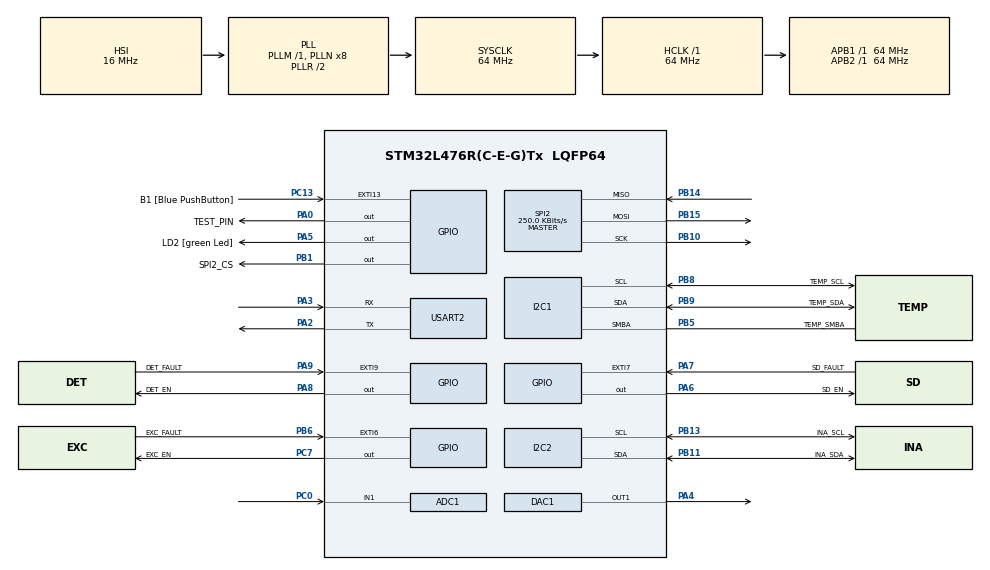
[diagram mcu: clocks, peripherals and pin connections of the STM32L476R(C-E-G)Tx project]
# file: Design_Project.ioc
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ADC1.Channel-0\#ChannelRegularConversion=ADC_CHANNEL_1
ADC1.NbrOfConversionFlag=1
ADC1.OffsetNumber-0\#ChannelRegularConversion=ADC_OFFSET_NONE
ADC1.Rank-0\#ChannelRegularConversion=1
ADC1.SamplingTime-0\#ChannelRegularConversion=ADC_SAMPLETIME_640CYCLES_5
ADC1.master=1
CRC.DefaultInitValueUse=DEFAULT_INIT_VALUE_ENABLE
CRC.DefaultPolynomialUse=DEFAULT_POLYNOMIAL_ENABLE
CRC.InputDataFormat=CRC_INPUTDATA_FORMAT_WORDS
CRC.InputDataInversionMode=CRC_INPUTDATA_INVERSION_BYTE
CRC.OutputDataInversionMode=CRC_OUTPUTDATA_INVERSION_ENABLE
FATFS._MAX_SS=4096
FATFS._USE_LFN=1
I2C1.Timeout=0x0000830D
I2C1.Timing=0x10B17DB5
I2C2.Timing=0x10B17DB5
IWDG.Prescaler=IWDG_PRESCALER_256
Mcu.Family=STM32L4
Mcu.Name=STM32L476R(C-E-G)Tx
Mcu.Package=LQFP64
NVIC.ADC1_2_IRQn=true\:0\:0\:false\:false\:true\:true\:true\:true
NVIC.EXTI15_10_IRQn=true\:0\:0\:false\:false\:true\:true\:true\:true
NVIC.EXTI9_5_IRQn=true\:0\:0\:false\:false\:true\:true\:true\:true
NVIC.I2C1_ER_IRQn=true\:0\:0\:false\:false\:true\:true\:true\:true
NVIC.I2C1_EV_IRQn=true\:0\:0\:false\:false\:true\:true\:true\:true
NVIC.PriorityGroup=NVIC_PRIORITYGROUP_4
NVIC.RTC_WKUP_IRQn=true\:0\:0\:false\:false\:true\:true\:true\:true
NVIC.TIM2_IRQn=true\:0\:0\:false\:false\:true\:true\:true\:true
PA0.GPIO_Label=TEST_PIN
PA0.GPIO_PuPd=GPIO_PULLDOWN
PA0.Signal=GPIO_Output
PA13\ (JTMS-SWDIO).GPIO_Label=TMS
PA13\ (JTMS-SWDIO).Mode=Serial_Wire
PA13\ (JTMS-SWDIO).Signal=SYS_JTMS-SWDIO
PA14\ (JTCK-SWCLK).GPIO_Label=TCK
PA14\ (JTCK-SWCLK).Mode=Serial_Wire
PA14\ (JTCK-SWCLK).Signal=SYS_JTCK-SWCLK
PA2.Mode=Asynchronous
PA2.Signal=USART2_TX
PA3.Mode=Asynchronous
PA3.Signal=USART2_RX
PA4.Signal=COMP_DAC11_group
PA5.GPIO_Label=LD2 [green Led]
PA5.GPIO_ModeDefaultOutputPP=GPIO_MODE_OUTPUT_PP
PA5.GPIO_PuPd=GPIO_NOPULL
PA5.GPIO_Speed=GPIO_SPEED_FREQ_LOW
PA5.Signal=GPIO_Output
PA6.GPIO_Label=SD_EN
PA6.GPIO_Speed=GPIO_SPEED_FREQ_LOW
PA6.Signal=GPIO_Output
PA7.GPIO_Label=SD_FAULT
PA7.GPIO_ModeDefaultEXTI=GPIO_MODE_IT_FALLING
PA7.Signal=GPXTI7
PA8.GPIO_Label=DET_EN
PA8.Signal=GPIO_Output
PA9.GPIO_Label=DET_FAULT
PA9.GPIO_ModeDefaultEXTI=GPIO_MODE_IT_FALLING
PA9.Signal=GPXTI9
PB1.GPIO_Label=SPI2_CS
PB1.GPIO_PuPd=GPIO_PULLUP
PB1.PinState=GPIO_PIN_SET
PB1.Signal=GPIO_Output
PB10.Mode=Full_Duplex_Master
PB10.Signal=SPI2_SCK
PB11.GPIO_Label=INA_SDA
PB11.Mode=I2C
PB11.Signal=I2C2_SDA
PB13.GPIO_Label=INA_SCL
PB13.Mode=I2C
PB13.Signal=I2C2_SCL
PB14.GPIO_PuPd=GPIO_PULLUP
PB14.Mode=Full_Duplex_Master
PB14.Signal=SPI2_MISO
PB15.GPIO_PuPd=GPIO_PULLUP
PB15.Mode=Full_Duplex_Master
PB15.Signal=SPI2_MOSI
PB3\ (JTDO-TRACESWO).GPIO_Label=SWO
PB3\ (JTDO-TRACESWO).Signal=SYS_JTDO-SWO
PB5.GPIO_Label=TEMP_SMBA
PB5.Mode=SMBus-Alert-mode
PB5.Signal=I2C1_SMBA
PB6.GPIO_Label=EXC_FAULT
PB6.GPIO_ModeDefaultEXTI=GPIO_MODE_IT_FALLING
PB6.Signal=GPXTI6
PB8.GPIO_Label=TEMP_SCL
PB8.Mode=SMBus-Alert-mode
PB8.Signal=I2C1_SCL
PB9.GPIO_Label=TEMP_SDA
PB9.Mode=SMBus-Alert-mode
PB9.Signal=I2C1_SDA
PC0.Signal=ADCx_IN1
PC13.GPIO_Label=B1 [Blue PushButton]
PC13.GPIO_ModeDefaultEXTI=GPIO_MODE_IT_FALLING
PC13.GPIO_PuPd=GPIO_NOPULL
PC13.Signal=GPXTI13
PC14-OSC32_IN\ (PC14).Mode=LSE-External-Oscillator
PC14-OSC32_IN\ (PC14).Signal=RCC_OSC32_IN
PC15-OSC32_OUT\ (PC15).Mode=LSE-External-Oscillator
PC15-OSC32_OUT\ (PC15).Signal=RCC_OSC32_OUT
PC7.GPIO_Label=EXC_EN
PC7.GPIO_Speed=GPIO_SPEED_FREQ_MEDIUM
PC7.Signal=GPIO_Output
PH0-OSC_IN\ (PH0).Signal=RCC_OSC_IN
PH1-OSC_OUT\ (PH1).Signal=RCC_OSC_OUT
ProjectManager.HeapSize=0x200
ProjectManager.StackSize=0x400
ProjectManager.TargetToolchain=STM32CubeIDE
RCC.ADCFreq_Value=64000000
RCC.AHBFreq_Value=64000000
RCC.APB1Freq_Value=64000000
RCC.APB1TimFreq_Value=64000000
RCC.APB2Freq_Value=64000000
RCC.APB2TimFreq_Value=64000000
RCC.CortexFreq_Value=64000000
RCC.HCLKFreq_Value=64000000
RCC.HSE_VALUE=8000000
RCC.HSI_VALUE=16000000
RCC.MSI_VALUE=4000000
RCC.PLLSourceVirtual=RCC_PLLSOURCE_HSI
RCC.PREFETCH_ENABLE=1
RCC.RTCClockSelection=RCC_RTCCLKSOURCE_LSE
RCC.SYSCLKFreq_VALUE=64000000
RCC.SYSCLKSource=RCC_SYSCLKSOURCE_PLLCLK
RCC.USBFreq_Value=64000000
RCC.VCOOutputFreq_Value=128000000
RTC.Date=13
RTC.Hours=0
RTC.Minutes=30
RTC.Month=RTC_MONTH_MAY
RTC.WakeUpClock-WakeUp=RTC_WAKEUPCLOCK_CK_SPRE_16BITS
RTC.WakeUpCounter-WakeUp=0
RTC.WeekDay=RTC_WEEKDAY_WEDNESDAY
RTC.Year=26
SH.ADCx_IN1.0=ADC1_IN1,IN1-Single-Ended
SH.COMP_DAC11_group.0=DAC1_OUT1,DAC_OUT1
SPI2.BaudRatePrescaler=SPI_BAUDRATEPRESCALER_256
SPI2.CalculateBaudRate=250.0 KBits/s
SPI2.DataSize=SPI_DATASIZE_8BIT
SPI2.Direction=SPI_DIRECTION_2LINES
SPI2.Mode=SPI_MODE_MASTER
SPI2.VirtualType=VM_MASTER
TIM2.AutoReloadPreload=TIM_AUTORELOAD_PRELOAD_ENABLE
TIM2.Period=500-1
TIM2.Prescaler=64000-1
USART2.VirtualMode-Asynchronous=VM_ASYNC
VP_CRC_VS_CRC.Mode=CRC_Activate
VP_FATFS_VS_Generic.Mode=User_defined
VP_IWDG_VS_IWDG.Mode=IWDG_Activate
VP_RTC_VS_RTC_Activate.Mode=RTC_Enabled
VP_RTC_VS_RTC_Calendar.Mode=RTC_Calendar
VP_RTC_VS_RTC_WakeUp_intern.Mode=WakeUp
VP_TIM2_VS_ClockSourceINT.Mode=Internal
board=NUCLEO-L476RG

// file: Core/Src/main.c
/* USER CODE BEGIN Header */
/**
  ******************************************************************************
  * @file           : main.c
  * @brief          : Main program body
  ******************************************************************************
  * @attention
  *
  * Copyright (c) 2026 STMicroelectronics.
  * All rights reserved.
  *
  * This software is licensed under terms that can be found in the LICENSE file
  * in the root directory of this software component.
  * If no LICENSE file comes with this software, it is provided AS-IS.
  *
  ******************************************************************************
  */
/* USER CODE END Header */
#include "main.h"
#include "fatfs.h"

/* USER CODE BEGIN Includes */
#include "daq.h"
#include "string.h"
#include <stdio.h>
#include "stdbool.h"

#include "INA219.h"
/* USER CODE END Includes */

/* USER CODE BEGIN PD */

#ifdef __GNUC__
#define PUTCHAR_PROTOTYPE int __io_putchar(int ch)
#else
#define PUTCHAR_PROTOTYPE int fputc(int ch, FILE *f)
#endif

/* USER CODE END PD */

/* USER CODE BEGIN PM */
/* Buffer for raw ADC samples (Oversampling/Averaging) */
#define ADC_WINDOW_SIZE 256
#define BUFFER_SIZE 100
FaultType result;
/* USER CODE END PM */

ADC_HandleTypeDef hadc1;
CRC_HandleTypeDef hcrc;
DAC_HandleTypeDef hdac1;
SMBUS_HandleTypeDef hsmbus1;
I2C_HandleTypeDef hi2c2;
IWDG_HandleTypeDef hiwdg;
RTC_HandleTypeDef hrtc;
SPI_HandleTypeDef hspi2;
TIM_HandleTypeDef htim2;
UART_HandleTypeDef huart2;

/* USER CODE BEGIN PV */
/* ── Extern globals defined in daq.c ─────────────────────────────────── */
extern DaqContext    	g_daq;
extern FaultManager  	g_fault_mgr;
extern PendingFault 	g_pending_fault;
extern AcqState     	g_acq;
extern uint8_t 			s_buf_head;

/* ── Pending record passed from SYS_PROCESS to SYS_LOG ──────────────── */
static MeasurementRecord s_pending_record;

/* Alert Response Address (ARA) */
static uint8_t s_ara_response_addr;

/* INA219 context structure */
INA219_t ina219 = {0};
/* USER CODE END PV */

void SystemClock_Config(void);
static void MX_GPIO_Init(void);
static void MX_RTC_Init(void);
void MX_ADC1_Init(void);
static void MX_DAC1_Init(void);
static void MX_I2C1_SMBUS_Init(void);
static void MX_SPI2_Init(void);
static void MX_TIM2_Init(void);
static void MX_CRC_Init(void);
static void MX_IWDG_Init(void);
static void MX_I2C2_Init(void);
void MX_USART2_UART_Init(void);

/* USER CODE BEGIN 0 */
PUTCHAR_PROTOTYPE
{
  HAL_UART_Transmit(&huart2, (uint8_t *)&ch, 1, HAL_MAX_DELAY);
  return ch;
}

/* ══════════════════════════════════════════════════════════════════════
 *  EXTI dispatch
 *
 *  Routing each pin to its dedicated callback
 * ══════════════════════════════════════════════════════════════════════ */

void HAL_GPIO_EXTI_Callback(uint16_t GPIO_Pin)
{
	switch(GPIO_Pin)
	{
		  case GPIO_PIN_9:   /* PB9 — detection domain load switch fault  */
			  DAQ_EXTI_Detection_Callback();
			  break;
		  case GPIO_PIN_6:    /* PB6  — excitation domain load switch fault */
			  DAQ_EXTI_Excitation_Callback();
			  break;
		  case GPIO_PIN_7:    /* PA7  — SD card domain load switch fault    */
			  DAQ_EXTI_SDCard_Callback();
			  break;
		  default:
			  break;
	}
}

void HAL_TIM_PeriodElapsedCallback(TIM_HandleTypeDef *htim)
{
    if (htim->Instance == TIM2) {
        DAQ_TIM_PeriodElapsed_Callback();
    }
}

void HAL_ADC_ConvCpltCallback(ADC_HandleTypeDef *hadc)
{
    if (hadc->Instance == ADC1) {
        DAQ_ADC_ConvCplt_Callback();
    }
}

/**
 * @brief SMBus Error Callback
 * Triggered by the I2C1_ER_IRQn when the SMBA (Alert) line is pulled low.
 */
void HAL_SMBUS_ErrorCallback(SMBUS_HandleTypeDef *hsmbus)
{
    if (hsmbus->Instance == I2C1) {
        /* Check if the SMBus Alert flag is set */
        if (__HAL_SMBUS_GET_FLAG(hsmbus, SMBUS_FLAG_ALERT) != RESET) {

            /* 1. Start the Alert Response Address (ARA) sequence. */
            HAL_SMBUS_Master_Receive_IT(hsmbus, 0x0C, &s_ara_response_addr, 1, SMBUS_FIRST_AND_LAST_FRAME_NO_PEC);

            /* 2. Clear the flag so the interrupt doesn't re-trigger immediately */
            __HAL_SMBUS_CLEAR_FLAG(hsmbus, SMBUS_FLAG_ALERT);
        }
    }
}

/**
 * @brief SMBus Master Rx Complete Callback
 * Triggered once the ARA response (the alerting device's address) is received.
 */
void HAL_SMBUS_MasterRxCpltCallback(SMBUS_HandleTypeDef *hsmbus)
{
    if (hsmbus->Instance == I2C1) {
        /* The response contains the 7-bit address of the device that triggered the alert.
         * MCP9808 address is 0x18.*/
        if ((s_ara_response_addr >> 1) == (MCP9808_I2C_ADDR >> 1)) {
            /* Latch the fault. The state machine will handle this at the next check. */
            g_pending_fault.type      = FAULT_TEMP_ALERT;
            g_pending_fault.subsystem = SUBSYS_DETECTION;

            /* If we are in the middle of a high-precision acquisition, mark it as faulted */
            if (g_acq.phase != ACQ_IDLE) {
                g_acq.fault = FAULT_TEMP_ALERT;
            }
        }
    }
}

/**
  * @brief  Wake Up Timer callback
  * @param  hrtc: RTC handle
  */
void HAL_RTCEx_WakeUpTimerEventCallback(RTC_HandleTypeDef *hrtc)
{
	/* Called when CPU wakes from RTC wakeup interrupt */
	(void)hrtc;
}
/* USER CODE END 0 */

int main(void)
{

  /* MCU Configuration--------------------------------------------------------*/

  /* Reset of all peripherals, Initializes the Flash interface and the Systick. */
  HAL_Init();

  /* USER CODE BEGIN Init */
  /* ── Cold-boot detection ──────────────────────────────────────────
   * RCC_FLAG_BORRST (brown-out reset), not PWR_FLAG_SB: this system
   * only ever uses Stop 2 mode, never Standby, so PWR_FLAG_SB (set only
   * on a wake-from-Standby) would never be set regardless of reset
   * cause -- that check would zero g_daq/g_fault_mgr/etc. on every
   * single reset, including an IWDG watchdog reset, defeating the whole
   * point of keeping them in .noinit across exactly that case.
   * RCC_FLAG_BORRST is set specifically by a genuine power-on/brown-out
   * event and stays clear across a watchdog/software/pin reset, so it
   * actually distinguishes "fresh power-on" the way this check needs.
   */
  if (__HAL_RCC_GET_FLAG(RCC_FLAG_BORRST) != RESET) {
	  memset(&g_daq,           0, sizeof(DaqContext));
	  memset(&g_fault_mgr,     0, sizeof(FaultManager));
	  memset(&g_pending_fault, 0, sizeof(PendingFault));
	  memset(&g_acq,           0, sizeof(AcqState));
	  memset(&s_pending_record,0, sizeof(MeasurementRecord));

	  s_buf_head 		= 0;
	  g_daq.state 		= SYS_INIT;
	  g_daq.cycle_count = 1;
  }
  __HAL_RCC_CLEAR_RESET_FLAGS();
  /* USER CODE END Init */

  /* Configure the system clock */
  SystemClock_Config();

  /* Initialize all configured peripherals */
  MX_GPIO_Init();
  MX_RTC_Init();
  MX_ADC1_Init();
  MX_DAC1_Init();
  MX_I2C1_SMBUS_Init();
  MX_SPI2_Init();
  MX_TIM2_Init();
  MX_CRC_Init();
  MX_IWDG_Init();
  MX_I2C2_Init();
  MX_USART2_UART_Init();
  MX_FATFS_Init();
  /* USER CODE BEGIN 2 */

  /* Configure MCP9808 alert limits */
  FaultType alert_cfg = configure_mcp9808_alert();

  /* Non fatal if configuration failed */
  if (alert_cfg != FAULT_NONE) {
	  FaultLog boot_warn = {
		  .timestamp      = 0u,
		  .fault          = alert_cfg,
		  .subsystem      = SUBSYS_TEMP_SENSOR,
		  .state_at_fault = SYS_INIT,
		  .retry_count    = 0u
	  };
	  log_fault_to_sd(&boot_warn);
  }

  // Enable mcp alert interrupts
  HAL_SMBUS_EnableAlert_IT(&hsmbus1);

  /* USER CODE END 2 */

  /* USER CODE BEGIN WHILE */
  while (1)
  {
	  /* GLOBAL FAULT CHECK: If a fault was latched by EXTI, handle it now */
	  if (g_pending_fault.type != FAULT_NONE) {
		  fault_handler(g_pending_fault.type, g_pending_fault.subsystem);
		  continue; // Restart the loop
	  }

	  /* ── State machine ──────────────────────────────────────────────── */

	  switch (g_daq.state)
	  {
		  /* ── SYS_INIT ─────────────────────────────────────────────
		   * kick the watchdog, then run the health check. A clean check advances to power sequencing.
		   */
	  	  case SYS_INIT:
		  {
			  /* 1. Refresh watchdog timer */
			  iwdg_kick();

			  /* 2. Re-calibrate ADC */
			  HAL_ADCEx_Calibration_Start(&hadc1, ADC_SINGLE_ENDED);

			  /* 3. Confirm there is no power fault */
			  result = check_power_health();
			  if (result == FAULT_NONE) {
				  g_daq.state = SYS_POWER_SEQ;
			  } else {
				  /* g_pending_fault.subsystem was set by health check */
				  fault_handler(result, g_pending_fault.subsystem);
			  }
			  break;
		  }

		  /* ── SYS_POWER_SEQ ────────────────────────────────────────
		   * Enable detection domain and wait for it to settle before
		   * any optical excitation is applied.
		   */
		  case SYS_POWER_SEQ:
		  {
			  result = init_power_domain(DETECT_EN_PORT, DETECT_EN_PIN,
			                             DETECT_FLT_PORT, DETECT_FLT_PIN,
			                             DELAY_DETECT_SETTLE_MS,
			                             FAULT_LOAD_SWITCH_DETECTION);
			  if (result == FAULT_NONE) {
				  g_daq.state = SYS_ACQUIRE;
			  } else {
				  fault_handler(result, SUBSYS_DETECTION);
			  }
			  break;
		  }

		  /* ── SYS_ACQUIRE ──────────────────────────────────────────
		   */
		  case SYS_ACQUIRE:
		  {
			  result = start_acquisition();
			  if (result != FAULT_NONE) {
				  fault_handler(result, SUBSYS_EXCITATION);
				  break;
			  }

			  /* Poll until complete or fault — kick IWDG each iteration */
			  while (!g_acq.complete) {
				  iwdg_kick();

				  /* Check for temperature alert while waiting */
				  if (g_pending_fault.type != FAULT_NONE) {
					  HAL_TIM_Base_Stop_IT(&htim2);
					  fault_handler(g_pending_fault.type, g_pending_fault.subsystem);
					  break;
				  }

				  HAL_Delay(10u);   /* Short yield — ISR will set complete */
			  }

			  /* Clear interrupt flags to prevent false triggering */
              __HAL_TIM_CLEAR_IT(&htim2, TIM_IT_UPDATE);
              __HAL_ADC_CLEAR_FLAG(&hadc1, ADC_FLAG_EOC | ADC_FLAG_EOS | ADC_FLAG_OVR);

			  /* Check if the ISR flagged a mid-window fault */
			  if (g_acq.fault != FAULT_NONE) {

				  SubSystem sys = (g_pending_fault.subsystem != SUBSYS_PROCESSOR)
								  ? g_pending_fault.subsystem
								  : SUBSYS_EXCITATION;
				  fault_handler(g_acq.fault, sys);
				  break;
			  }

			  /* ── SUCCESS ── */
			  /* Data is collected in g_acq buffers. All validation, math, and logging happens next. */
			  g_daq.state = SYS_PROCESS;

			  break;
		  }

		  /* ── SYS_PROCESS ──────────────────────────────────────────
		   * Compute differential mean, apply temperature compensation,
		   * and compute CRC. */
		  case SYS_PROCESS:
		  {
			  /* process measurement buffers */
			  result = process_measurement(g_acq.buf_on,
										   g_acq.buf_off,
										   ACQUISITION_PAIRS,
										   &s_pending_record);

			  /* Check to see if there were no faults before continuing
			   * A temperature sensor fault is non-fatal — the record is still logged with op_status flagged.
			   * */
			  if (result == FAULT_NONE || result == FAULT_TEMP_SENSOR) {
				  g_daq.state = SYS_LOG;
			  } else {
				  fault_handler(result, SUBSYS_PROCESSOR);
			  }
			  break;
		  }

		  /* ── SYS_LOG ──────────────────────────────────────────────
		   * Push record to RAM buffer. If the buffer is full,
		   * log_measurement() triggers a flush internally.
		   */
		  case SYS_LOG:
		  {
			  result = log_measurement(&s_pending_record);
			  if (result == FAULT_NONE) {
				  g_fault_mgr.retry_count = 0;   /* Clean cycle: reset retries */
				  g_daq.state = SYS_STOP;

			  } else {
				  fault_handler(result, SUBSYS_SDCARD);
			  }
			  break;
		  }

		  /* ── SYS_STOP ─────────────────────────────────────────────
		   * Kick watchdog. enter_stop_mode() kicks once more internally
		   */
		  case SYS_STOP:
			  iwdg_kick();

			#if DAQ_DEBUG
			  debug_dump_sd();
			#endif

			  /* 7. Enter Ultra-Low Power Stop 2 */
			  g_daq.cycle_count++;
			  enter_stop_mode();

			  /* --- SYSTEM SLEEPS UNTIL RTC ALARM --- */

			  /* 8. Logic resumes here after wake. Restore state. */
			  g_daq.state = SYS_INIT;
			  break;

		  default:
			  g_daq.state = SYS_STOP;
			  break;
	  }
    /* USER CODE END WHILE */

	  }
}

void SystemClock_Config(void)
{
  RCC_OscInitTypeDef RCC_OscInitStruct = {0};
  RCC_ClkInitTypeDef RCC_ClkInitStruct = {0};

  /** Configure the main internal regulator output voltage
  */
  if (HAL_PWREx_ControlVoltageScaling(PWR_REGULATOR_VOLTAGE_SCALE1) != HAL_OK)
  {
    Error_Handler();
  }

  /** Configure LSE Drive Capability
  */
  HAL_PWR_EnableBkUpAccess();
  __HAL_RCC_LSEDRIVE_CONFIG(RCC_LSEDRIVE_LOW);

  /** Initializes the RCC Oscillators according to the specified parameters
  * in the RCC_OscInitTypeDef structure.
  */
  RCC_OscInitStruct.OscillatorType = RCC_OSCILLATORTYPE_HSI|RCC_OSCILLATORTYPE_LSI
                              |RCC_OSCILLATORTYPE_LSE;
  RCC_OscInitStruct.LSEState = RCC_LSE_ON;
  RCC_OscInitStruct.HSIState = RCC_HSI_ON;
  RCC_OscInitStruct.HSICalibrationValue = RCC_HSICALIBRATION_DEFAULT;
  RCC_OscInitStruct.LSIState = RCC_LSI_ON;
  RCC_OscInitStruct.PLL.PLLState = RCC_PLL_ON;
  RCC_OscInitStruct.PLL.PLLSource = RCC_PLLSOURCE_HSI;
  RCC_OscInitStruct.PLL.PLLM = 1;
  RCC_OscInitStruct.PLL.PLLN = 8;
  RCC_OscInitStruct.PLL.PLLP = RCC_PLLP_DIV7;
  RCC_OscInitStruct.PLL.PLLQ = RCC_PLLQ_DIV2;
  RCC_OscInitStruct.PLL.PLLR = RCC_PLLR_DIV2;
  if (HAL_RCC_OscConfig(&RCC_OscInitStruct) != HAL_OK)
  {
    Error_Handler();
  }

  /** Initializes the CPU, AHB and APB buses clocks
  */
  RCC_ClkInitStruct.ClockType = RCC_CLOCKTYPE_HCLK|RCC_CLOCKTYPE_SYSCLK
                              |RCC_CLOCKTYPE_PCLK1|RCC_CLOCKTYPE_PCLK2;
  RCC_ClkInitStruct.SYSCLKSource = RCC_SYSCLKSOURCE_PLLCLK;
  RCC_ClkInitStruct.AHBCLKDivider = RCC_SYSCLK_DIV1;
  RCC_ClkInitStruct.APB1CLKDivider = RCC_HCLK_DIV1;
  RCC_ClkInitStruct.APB2CLKDivider = RCC_HCLK_DIV1;

  if (HAL_RCC_ClockConfig(&RCC_ClkInitStruct, FLASH_LATENCY_3) != HAL_OK)
  {
    Error_Handler();
  }
}

void MX_ADC1_Init(void)
{

  ADC_MultiModeTypeDef multimode = {0};
  ADC_ChannelConfTypeDef sConfig = {0};

  /** Common config
  */
  hadc1.Instance = ADC1;
  hadc1.Init.ClockPrescaler = ADC_CLOCK_ASYNC_DIV1;
  hadc1.Init.Resolution = ADC_RESOLUTION_12B;
  hadc1.Init.DataAlign = ADC_DATAALIGN_RIGHT;
  hadc1.Init.ScanConvMode = ADC_SCAN_DISABLE;
  hadc1.Init.EOCSelection = ADC_EOC_SINGLE_CONV;
  hadc1.Init.LowPowerAutoWait = DISABLE;
  hadc1.Init.ContinuousConvMode = DISABLE;
  hadc1.Init.NbrOfConversion = 1;
  hadc1.Init.DiscontinuousConvMode = DISABLE;
  hadc1.Init.ExternalTrigConv = ADC_SOFTWARE_START;
  hadc1.Init.ExternalTrigConvEdge = ADC_EXTERNALTRIGCONVEDGE_NONE;
  hadc1.Init.DMAContinuousRequests = DISABLE;
  hadc1.Init.Overrun = ADC_OVR_DATA_PRESERVED;
  hadc1.Init.OversamplingMode = DISABLE;
  if (HAL_ADC_Init(&hadc1) != HAL_OK)
  {
    Error_Handler();
  }

  /** Configure the ADC multi-mode
  */
  multimode.Mode = ADC_MODE_INDEPENDENT;
  if (HAL_ADCEx_MultiModeConfigChannel(&hadc1, &multimode) != HAL_OK)
  {
    Error_Handler();
  }

  /** Configure Regular Channel
  */
  sConfig.Channel = ADC_CHANNEL_1;
  sConfig.Rank = ADC_REGULAR_RANK_1;
  sConfig.SamplingTime = ADC_SAMPLETIME_640CYCLES_5;
  sConfig.SingleDiff = ADC_SINGLE_ENDED;
  sConfig.OffsetNumber = ADC_OFFSET_NONE;
  sConfig.Offset = 0;
  if (HAL_ADC_ConfigChannel(&hadc1, &sConfig) != HAL_OK)
  {
    Error_Handler();
  }

}

static void MX_CRC_Init(void)
{

  hcrc.Instance = CRC;
  hcrc.Init.DefaultPolynomialUse = DEFAULT_POLYNOMIAL_ENABLE;
  hcrc.Init.DefaultInitValueUse = DEFAULT_INIT_VALUE_ENABLE;
  hcrc.Init.InputDataInversionMode = CRC_INPUTDATA_INVERSION_BYTE;
  hcrc.Init.OutputDataInversionMode = CRC_OUTPUTDATA_INVERSION_ENABLE;
  hcrc.InputDataFormat = CRC_INPUTDATA_FORMAT_WORDS;
  if (HAL_CRC_Init(&hcrc) != HAL_OK)
  {
    Error_Handler();
  }

}

static void MX_DAC1_Init(void)
{

  DAC_ChannelConfTypeDef sConfig = {0};

  /** DAC Initialization
  */
  hdac1.Instance = DAC1;
  if (HAL_DAC_Init(&hdac1) != HAL_OK)
  {
    Error_Handler();
  }

  /** DAC channel OUT1 config
  */
  sConfig.DAC_SampleAndHold = DAC_SAMPLEANDHOLD_DISABLE;
  sConfig.DAC_Trigger = DAC_TRIGGER_NONE;
  sConfig.DAC_OutputBuffer = DAC_OUTPUTBUFFER_ENABLE;
  sConfig.DAC_ConnectOnChipPeripheral = DAC_CHIPCONNECT_DISABLE;
  sConfig.DAC_UserTrimming = DAC_TRIMMING_FACTORY;
  if (HAL_DAC_ConfigChannel(&hdac1, &sConfig, DAC_CHANNEL_1) != HAL_OK)
  {
    Error_Handler();
  }

}

static void MX_I2C1_SMBUS_Init(void)
{

  hsmbus1.Instance = I2C1;
  hsmbus1.Init.Timing = 0x10B17DB5;
  hsmbus1.Init.AnalogFilter = SMBUS_ANALOGFILTER_ENABLE;
  hsmbus1.Init.OwnAddress1 = 2;
  hsmbus1.Init.AddressingMode = SMBUS_ADDRESSINGMODE_7BIT;
  hsmbus1.Init.DualAddressMode = SMBUS_DUALADDRESS_DISABLE;
  hsmbus1.Init.OwnAddress2 = 0;
  hsmbus1.Init.OwnAddress2Masks = SMBUS_OA2_NOMASK;
  hsmbus1.Init.GeneralCallMode = SMBUS_GENERALCALL_DISABLE;
  hsmbus1.Init.NoStretchMode = SMBUS_NOSTRETCH_DISABLE;
  hsmbus1.Init.PacketErrorCheckMode = SMBUS_PEC_DISABLE;
  hsmbus1.Init.PeripheralMode = SMBUS_PERIPHERAL_MODE_SMBUS_SLAVE;
  hsmbus1.Init.SMBusTimeout = 0x0000830D;
  if (HAL_SMBUS_Init(&hsmbus1) != HAL_OK)
  {
    Error_Handler();
  }

  /** configuration Alert Mode
  */
  if (HAL_SMBUS_EnableAlert_IT(&hsmbus1) != HAL_OK)
  {
    Error_Handler();
  }

}

static void MX_I2C2_Init(void)
{

  hi2c2.Instance = I2C2;
  hi2c2.Init.Timing = 0x10B17DB5;
  hi2c2.Init.OwnAddress1 = 0;
  hi2c2.Init.AddressingMode = I2C_ADDRESSINGMODE_7BIT;
  hi2c2.Init.DualAddressMode = I2C_DUALADDRESS_DISABLE;
  hi2c2.Init.OwnAddress2 = 0;
  hi2c2.Init.OwnAddress2Masks = I2C_OA2_NOMASK;
  hi2c2.Init.GeneralCallMode = I2C_GENERALCALL_DISABLE;
  hi2c2.Init.NoStretchMode = I2C_NOSTRETCH_DISABLE;
  if (HAL_I2C_Init(&hi2c2) != HAL_OK)
  {
    Error_Handler();
  }

  /** Configure Analogue filter
  */
  if (HAL_I2CEx_ConfigAnalogFilter(&hi2c2, I2C_ANALOGFILTER_ENABLE) != HAL_OK)
  {
    Error_Handler();
  }

  /** Configure Digital filter
  */
  if (HAL_I2CEx_ConfigDigitalFilter(&hi2c2, 0) != HAL_OK)
  {
    Error_Handler();
  }

}

static void MX_IWDG_Init(void)
{

  hiwdg.Instance = IWDG;
  hiwdg.Init.Prescaler = IWDG_PRESCALER_256;
  hiwdg.Init.Window = 4095;
  hiwdg.Init.Reload = 4095;
  if (HAL_IWDG_Init(&hiwdg) != HAL_OK)
  {
    Error_Handler();
  }

}

static void MX_RTC_Init(void)
{

  RTC_TimeTypeDef sTime = {0};
  RTC_DateTypeDef sDate = {0};

  /** Initialize RTC Only
  */
  hrtc.Instance = RTC;
  hrtc.Init.HourFormat = RTC_HOURFORMAT_24;
  hrtc.Init.AsynchPrediv = 127;
  hrtc.Init.SynchPrediv = 255;
  hrtc.Init.OutPut = RTC_OUTPUT_DISABLE;
  hrtc.Init.OutPutRemap = RTC_OUTPUT_REMAP_NONE;
  hrtc.Init.OutPutPolarity = RTC_OUTPUT_POLARITY_HIGH;
  hrtc.Init.OutPutType = RTC_OUTPUT_TYPE_OPENDRAIN;
  if (HAL_RTC_Init(&hrtc) != HAL_OK)
  {
    Error_Handler();
  }

  /* USER CODE BEGIN Check_RTC_BKUP */
  /* 1. Check if the "Magic Number" 0x32F3 is in Backup Register 0 */
  if (HAL_RTCEx_BKUPRead(&hrtc, RTC_BKP_DR0) != 0x32F3)
  {

  /* USER CODE END Check_RTC_BKUP */

  /** Initialize RTC and set the Time and Date
  */
  sTime.Hours = 0x13;
  sTime.Minutes = 0x15;
  sTime.Seconds = 0x0;
  sTime.DayLightSaving = RTC_DAYLIGHTSAVING_NONE;
  sTime.StoreOperation = RTC_STOREOPERATION_RESET;
  if (HAL_RTC_SetTime(&hrtc, &sTime, RTC_FORMAT_BCD) != HAL_OK)
  {
    Error_Handler();
  }
  sDate.WeekDay = RTC_WEEKDAY_WEDNESDAY;
  sDate.Month = RTC_MONTH_MAY;
  sDate.Date = 0x13;
  sDate.Year = 0x26;

  if (HAL_RTC_SetDate(&hrtc, &sDate, RTC_FORMAT_BCD) != HAL_OK)
  {
    Error_Handler();
  }
  /* USER CODE BEGIN RTC_Init 2 */
  /* 3. Write the Magic Number so we skip this next time we wake up */
  	  HAL_RTCEx_BKUPWrite(&hrtc, RTC_BKP_DR0, 0x32F3);
  }

  /* USER CODE END RTC_Init 2 */

}

static void MX_SPI2_Init(void)
{

  /* SPI2 parameter configuration*/
  hspi2.Instance = SPI2;
  hspi2.Init.Mode = SPI_MODE_MASTER;
  hspi2.Init.Direction = SPI_DIRECTION_2LINES;
  hspi2.Init.DataSize = SPI_DATASIZE_8BIT;
  hspi2.Init.CLKPolarity = SPI_POLARITY_LOW;
  hspi2.Init.CLKPhase = SPI_PHASE_1EDGE;
  hspi2.Init.NSS = SPI_NSS_SOFT;
  hspi2.Init.BaudRatePrescaler = SPI_BAUDRATEPRESCALER_256;
  hspi2.Init.FirstBit = SPI_FIRSTBIT_MSB;
  hspi2.Init.TIMode = SPI_TIMODE_DISABLE;
  hspi2.Init.CRCCalculation = SPI_CRCCALCULATION_DISABLE;
  hspi2.Init.CRCPolynomial = 7;
  hspi2.Init.CRCLength = SPI_CRC_LENGTH_DATASIZE;
  hspi2.Init.NSSPMode = SPI_NSS_PULSE_ENABLE;
  if (HAL_SPI_Init(&hspi2) != HAL_OK)
  {
    Error_Handler();
  }

}

static void MX_TIM2_Init(void)
{

  TIM_ClockConfigTypeDef sClockSourceConfig = {0};
  TIM_MasterConfigTypeDef sMasterConfig = {0};

  htim2.Instance = TIM2;
  htim2.Init.Prescaler = 64000-1;
  htim2.Init.CounterMode = TIM_COUNTERMODE_UP;
  htim2.Init.Period = 500-1;
  htim2.Init.ClockDivision = TIM_CLOCKDIVISION_DIV1;
  htim2.Init.AutoReloadPreload = TIM_AUTORELOAD_PRELOAD_ENABLE;
  if (HAL_TIM_Base_Init(&htim2) != HAL_OK)
  {
    Error_Handler();
  }
  sClockSourceConfig.ClockSource = TIM_CLOCKSOURCE_INTERNAL;
  if (HAL_TIM_ConfigClockSource(&htim2, &sClockSourceConfig) != HAL_OK)
  {
    Error_Handler();
  }
  sMasterConfig.MasterOutputTrigger = TIM_TRGO_RESET;
  sMasterConfig.MasterSlaveMode = TIM_MASTERSLAVEMODE_DISABLE;
  if (HAL_TIMEx_MasterConfigSynchronization(&htim2, &sMasterConfig) != HAL_OK)
  {
    Error_Handler();
  }

}

void MX_USART2_UART_Init(void)
{

  huart2.Instance = USART2;
  huart2.Init.BaudRate = 115200;
  huart2.Init.WordLength = UART_WORDLENGTH_8B;
  huart2.Init.StopBits = UART_STOPBITS_1;
  huart2.Init.Parity = UART_PARITY_NONE;
  huart2.Init.Mode = UART_MODE_TX_RX;
  huart2.Init.HwFlowCtl = UART_HWCONTROL_NONE;
  huart2.Init.OverSampling = UART_OVERSAMPLING_16;
  huart2.Init.OneBitSampling = UART_ONE_BIT_SAMPLE_DISABLE;
  huart2.AdvancedInit.AdvFeatureInit = UART_ADVFEATURE_NO_INIT;
  if (HAL_UART_Init(&huart2) != HAL_OK)
  {
    Error_Handler();
  }

}

static void MX_GPIO_Init(void)
{
  GPIO_InitTypeDef GPIO_InitStruct = {0};

  /* GPIO Ports Clock Enable */
  __HAL_RCC_GPIOC_CLK_ENABLE();
  __HAL_RCC_GPIOH_CLK_ENABLE();
  __HAL_RCC_GPIOA_CLK_ENABLE();
  __HAL_RCC_GPIOB_CLK_ENABLE();

  /*Configure GPIO pin Output Level */
  HAL_GPIO_WritePin(GPIOA, TEST_PIN_Pin|LD2_Pin|SD_EN_Pin|DET_EN_Pin, GPIO_PIN_RESET);

  /*Configure GPIO pin Output Level */
  HAL_GPIO_WritePin(SPI2_CS_GPIO_Port, SPI2_CS_Pin, GPIO_PIN_SET);

  /*Configure GPIO pin Output Level */
  HAL_GPIO_WritePin(EXC_EN_GPIO_Port, EXC_EN_Pin, GPIO_PIN_RESET);

  /*Configure GPIO pin : B1_Pin */
  GPIO_InitStruct.Pin = B1_Pin;
  GPIO_InitStruct.Mode = GPIO_MODE_IT_FALLING;
  GPIO_InitStruct.Pull = GPIO_NOPULL;
  HAL_GPIO_Init(B1_GPIO_Port, &GPIO_InitStruct);

  /*Configure GPIO pin : TEST_PIN_Pin */
  GPIO_InitStruct.Pin = TEST_PIN_Pin;
  GPIO_InitStruct.Mode = GPIO_MODE_OUTPUT_PP;
  GPIO_InitStruct.Pull = GPIO_NOPULL;
  GPIO_InitStruct.Speed = GPIO_SPEED_FREQ_LOW;
  HAL_GPIO_Init(TEST_PIN_GPIO_Port, &GPIO_InitStruct);

  /*Configure GPIO pins : LD2_Pin SD_EN_Pin DET_EN_Pin */
  GPIO_InitStruct.Pin = LD2_Pin|SD_EN_Pin|DET_EN_Pin;
  GPIO_InitStruct.Mode = GPIO_MODE_OUTPUT_PP;
  GPIO_InitStruct.Pull = GPIO_NOPULL;
  GPIO_InitStruct.Speed = GPIO_SPEED_FREQ_LOW;
  HAL_GPIO_Init(GPIOA, &GPIO_InitStruct);

  /*Configure GPIO pins : SD_FAULT_Pin DET_FAULT_Pin */
  GPIO_InitStruct.Pin = SD_FAULT_Pin|DET_FAULT_Pin;
  GPIO_InitStruct.Mode = GPIO_MODE_IT_FALLING;
  GPIO_InitStruct.Pull = GPIO_NOPULL;
  HAL_GPIO_Init(GPIOA, &GPIO_InitStruct);

  /*Configure GPIO pin : SPI2_CS_Pin */
  GPIO_InitStruct.Pin = SPI2_CS_Pin;
  GPIO_InitStruct.Mode = GPIO_MODE_OUTPUT_PP;
  GPIO_InitStruct.Pull = GPIO_PULLUP;
  GPIO_InitStruct.Speed = GPIO_SPEED_FREQ_LOW;
  HAL_GPIO_Init(SPI2_CS_GPIO_Port, &GPIO_InitStruct);

  /*Configure GPIO pin : EXC_EN_Pin */
  GPIO_InitStruct.Pin = EXC_EN_Pin;
  GPIO_InitStruct.Mode = GPIO_MODE_OUTPUT_PP;
  GPIO_InitStruct.Pull = GPIO_NOPULL;
  GPIO_InitStruct.Speed = GPIO_SPEED_FREQ_MEDIUM;
  HAL_GPIO_Init(EXC_EN_GPIO_Port, &GPIO_InitStruct);

  /*Configure GPIO pin : EXC_FAULT_Pin */
  GPIO_InitStruct.Pin = EXC_FAULT_Pin;
  GPIO_InitStruct.Mode = GPIO_MODE_IT_FALLING;
  GPIO_InitStruct.Pull = GPIO_NOPULL;
  HAL_GPIO_Init(EXC_FAULT_GPIO_Port, &GPIO_InitStruct);

  /* EXTI interrupt init*/
  HAL_NVIC_SetPriority(EXTI9_5_IRQn, 0, 0);
  HAL_NVIC_EnableIRQ(EXTI9_5_IRQn);

  HAL_NVIC_SetPriority(EXTI15_10_IRQn, 0, 0);
  HAL_NVIC_EnableIRQ(EXTI15_10_IRQn);

}

void Error_Handler(void)
{
  __disable_irq();
  while (1)
  {
  }
}
